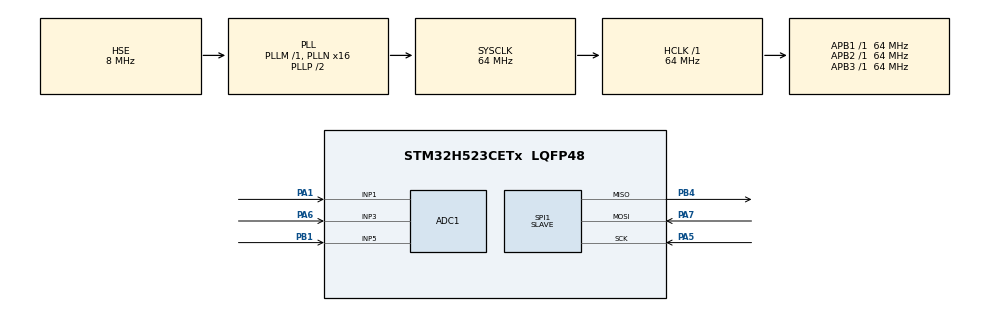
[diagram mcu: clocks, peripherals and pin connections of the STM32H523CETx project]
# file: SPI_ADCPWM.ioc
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ADC1.Channel-1\#ChannelRegularConversion=ADC_CHANNEL_1
ADC1.Channel-4\#ChannelRegularConversion=ADC_CHANNEL_3
ADC1.Channel-5\#ChannelRegularConversion=ADC_CHANNEL_5
ADC1.ExternalTrigConv=ADC_EXTERNALTRIG_T1_CC1
ADC1.ExternalTrigConvEdge=ADC_EXTERNALTRIGCONVEDGE_RISING
ADC1.MonitoredBy-1\#ChannelRegularConversion=__NULL
ADC1.MonitoredBy-4\#ChannelRegularConversion=__NULL
ADC1.MonitoredBy-5\#ChannelRegularConversion=__NULL
ADC1.NbrOfConversion=3
ADC1.NbrOfConversionFlag=1
ADC1.OffsetNumber-1\#ChannelRegularConversion=ADC_OFFSET_NONE
ADC1.OffsetNumber-4\#ChannelRegularConversion=ADC_OFFSET_NONE
ADC1.OffsetNumber-5\#ChannelRegularConversion=ADC_OFFSET_NONE
ADC1.Rank-1\#ChannelRegularConversion=1
ADC1.Rank-4\#ChannelRegularConversion=2
ADC1.Rank-5\#ChannelRegularConversion=3
ADC1.SamplingTime-1\#ChannelRegularConversion=ADC_SAMPLETIME_2CYCLES_5
ADC1.SamplingTime-4\#ChannelRegularConversion=ADC_SAMPLETIME_2CYCLES_5
ADC1.SamplingTime-5\#ChannelRegularConversion=ADC_SAMPLETIME_2CYCLES_5
ADC1.master=1
BOOTPATH.BootPathName=LEGACY
BOOTPATH.UserSelectedBootPath=LEGACY
CORTEX_M33_NS.Number-Cortex_Memory_Protection_Unit_Region0_OTP_RO_AREAS_Settings=MPU_REGION_NUMBER0
CORTEX_M33_NS.default_mode_Activation=1
CORTEX_M33_NS.userName=CORTEX_M33
Mcu.Family=STM32H5
Mcu.Name=STM32H523CETx
Mcu.Package=LQFP48
NVIC.PriorityGroup=NVIC_PRIORITYGROUP_4
PA1.Signal=ADCx_INP1
PA5.Mode=Full_Duplex_Slave
PA5.Signal=SPI1_SCK
PA6.Signal=ADCx_INP3
PA7.Mode=Full_Duplex_Slave
PA7.Signal=SPI1_MOSI
PB1.Signal=ADCx_INP5
PB4(NJTRST).Mode=Full_Duplex_Slave
PB4(NJTRST).Signal=SPI1_MISO
PH0-OSC_IN(PH0).Mode=HSE-External-Oscillator
PH0-OSC_IN(PH0).Signal=RCC_OSC_IN
PH1-OSC_OUT(PH1).Mode=HSE-External-Oscillator
PH1-OSC_OUT(PH1).Signal=RCC_OSC_OUT
ProjectManager.HeapSize=0x200
ProjectManager.StackSize=0x400
ProjectManager.TargetToolchain=CMake
RCC.ADCFreq_Value=64000000
RCC.AHBFreq_Value=64000000
RCC.APB1Freq_Value=64000000
RCC.APB1TimFreq_Value=64000000
RCC.APB2Freq_Value=64000000
RCC.APB2TimFreq_Value=64000000
RCC.APB3Freq_Value=64000000
RCC.CSI_VALUE=4000000
RCC.CortexFreq_Value=64000000
RCC.EPOD_VALUE=8000000
RCC.HCLKFreq_Value=64000000
RCC.HSE_VALUE=8000000
RCC.HSI48_VALUE=48000000
RCC.HSI_VALUE=64000000
RCC.LSE_VALUE=32768
RCC.LSIRC_VALUE=32000
RCC.PLL1Q=3
RCC.PLLFRACN=0
RCC.PLLN=16
RCC.PLLSourceVirtual=RCC_PLL1_SOURCE_HSE
RCC.SYSCLKFreq_VALUE=64000000
RCC.SYSCLKSource=RCC_SYSCLKSOURCE_PLLCLK
RCC.USBFreq_Value=48000000
RCC.VCOOutputFreq_Value=128000000
SH.ADCx_INP1.0=ADC1_INP1,IN1-Single-Ended
SH.ADCx_INP3.0=ADC1_INP3,IN3-Single-Ended
SH.ADCx_INP5.0=ADC1_INP5,IN5-Single-Ended
SPI1.DataSize=SPI_DATASIZE_16BIT
SPI1.Direction=SPI_DIRECTION_2LINES
SPI1.Mode=SPI_MODE_SLAVE
SPI1.VirtualType=VM_SLAVE
TIM1.Channel-Output\ Compare1\ No\ Output=TIM_CHANNEL_1
TIM1.OCMode_1=TIM_OCMODE_TOGGLE
TIM1.PeriodNoDither=49
TIM1.TIM_MasterOutputTrigger=TIM_TRGO_OC1REF
VP_BOOTPATH_VS_BOOTPATH.Mode=BP_Activate
VP_CORTEX_M33_NS_VS_Hclk.Mode=Hclk_Mode
VP_ICACHE_VS_ICACHE.Mode=DirectMappedCache
VP_MEMORYMAP_VS_MEMORYMAP.Mode=CurAppReg
VP_PWR_VS_LPOM.Mode=PowerOptimisation
VP_PWR_VS_SECSignals.Mode=Security/Privilege
VP_TIM1_VS_no_output1.Mode=Output Compare1 No Output
board=custom

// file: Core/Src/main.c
/* USER CODE BEGIN Header */
/**
  ******************************************************************************
  * @file           : main.c
  * @brief          : Main program body
  ******************************************************************************
  * @attention
  *
  * Copyright (c) 2026 STMicroelectronics.
  * All rights reserved.
  *
  * This software is licensed under terms that can be found in the LICENSE file
  * in the root directory of this software component.
  * If no LICENSE file comes with this software, it is provided AS-IS.
  *
  ******************************************************************************
  */
/* USER CODE END Header */
#include "main.h"

ADC_HandleTypeDef hadc1;

SPI_HandleTypeDef hspi1;

TIM_HandleTypeDef htim1;

/* USER CODE BEGIN PV */
volatile uint16_t adcValue[3] = {0};
uint8_t adcChannelIndex = 0;
/* USER CODE END PV */

void SystemClock_Config(void);
static void MPU_Config(void);
static void MX_GPIO_Init(void);
static void MX_ADC1_Init(void);
static void MX_ICACHE_Init(void);
static void MX_SPI1_Init(void);
static void MX_TIM1_Init(void);
/* USER CODE BEGIN PFP */
uint32_t ADC_Read_Channel(uint32_t channel);
/* USER CODE END PFP */

int main(void)
{

  /* MCU Configuration--------------------------------------------------------*/

  /* MPU Configuration--------------------------------------------------------*/
  MPU_Config();

  /* Reset of all peripherals, Initializes the Flash interface and the Systick. */
  HAL_Init();

  /* Configure the system clock */
  SystemClock_Config();

  /* Initialize all configured peripherals */
  MX_GPIO_Init();
  MX_ADC1_Init();
  MX_ICACHE_Init();
  MX_SPI1_Init();
  MX_TIM1_Init();
  /* USER CODE BEGIN 2 */
  //HAL_ADCEx_Calibration_Start(&hadc1, ADC_SINGLE_ENDED);
HAL_TIM_OC_Start(&htim1, TIM_CHANNEL_1);
  /* USER CODE END 2 */

  /* Infinite loop */
  while (1)
  {

    /* USER CODE BEGIN 3 */
    adcValue[0] = ADC_Read_Channel(ADC_CHANNEL_1);
    adcValue[1] = ADC_Read_Channel(ADC_CHANNEL_3);
    adcValue[2] = ADC_Read_Channel(ADC_CHANNEL_5);

    for (int i = 0; i < 3; i++) {
        uint16_t txValue = adcValue[i];
        HAL_SPI_Transmit(&hspi1, (uint8_t *)&txValue, 1, HAL_MAX_DELAY);
        while (HAL_SPI_GetState(&hspi1) != HAL_SPI_STATE_READY) {
            // Wait until SPI is ready for the next transmission
        }
    }

  }
  /* USER CODE END 3 */
}

void SystemClock_Config(void)
{
  RCC_OscInitTypeDef RCC_OscInitStruct = {0};
  RCC_ClkInitTypeDef RCC_ClkInitStruct = {0};

  /** Configure the main internal regulator output voltage
  */
  __HAL_PWR_VOLTAGESCALING_CONFIG(PWR_REGULATOR_VOLTAGE_SCALE3);

  while(!__HAL_PWR_GET_FLAG(PWR_FLAG_VOSRDY)) {}

  /** Initializes the RCC Oscillators according to the specified parameters
  * in the RCC_OscInitTypeDef structure.
  */
  RCC_OscInitStruct.OscillatorType = RCC_OSCILLATORTYPE_HSE;
  RCC_OscInitStruct.HSEState = RCC_HSE_ON;
  RCC_OscInitStruct.PLL.PLLState = RCC_PLL_ON;
  RCC_OscInitStruct.PLL.PLLSource = RCC_PLL1_SOURCE_HSE;
  RCC_OscInitStruct.PLL.PLLM = 1;
  RCC_OscInitStruct.PLL.PLLN = 16;
  RCC_OscInitStruct.PLL.PLLP = 2;
  RCC_OscInitStruct.PLL.PLLQ = 3;
  RCC_OscInitStruct.PLL.PLLR = 2;
  RCC_OscInitStruct.PLL.PLLRGE = RCC_PLL1_VCIRANGE_3;
  RCC_OscInitStruct.PLL.PLLVCOSEL = RCC_PLL1_VCORANGE_WIDE;
  RCC_OscInitStruct.PLL.PLLFRACN = 0;
  if (HAL_RCC_OscConfig(&RCC_OscInitStruct) != HAL_OK)
  {
    Error_Handler();
  }

  /** Initializes the CPU, AHB and APB buses clocks
  */
  RCC_ClkInitStruct.ClockType = RCC_CLOCKTYPE_HCLK|RCC_CLOCKTYPE_SYSCLK
                              |RCC_CLOCKTYPE_PCLK1|RCC_CLOCKTYPE_PCLK2
                              |RCC_CLOCKTYPE_PCLK3;
  RCC_ClkInitStruct.SYSCLKSource = RCC_SYSCLKSOURCE_PLLCLK;
  RCC_ClkInitStruct.AHBCLKDivider = RCC_SYSCLK_DIV1;
  RCC_ClkInitStruct.APB1CLKDivider = RCC_HCLK_DIV1;
  RCC_ClkInitStruct.APB2CLKDivider = RCC_HCLK_DIV1;
  RCC_ClkInitStruct.APB3CLKDivider = RCC_HCLK_DIV1;

  if (HAL_RCC_ClockConfig(&RCC_ClkInitStruct, FLASH_LATENCY_3) != HAL_OK)
  {
    Error_Handler();
  }

  /** Configure the programming delay
  */
  __HAL_FLASH_SET_PROGRAM_DELAY(FLASH_PROGRAMMING_DELAY_1);
}

static void MX_ADC1_Init(void)
{

  ADC_ChannelConfTypeDef sConfig = {0};

  /** Common config
  */
  hadc1.Instance = ADC1;
  hadc1.Init.ClockPrescaler = ADC_CLOCK_ASYNC_DIV1;
  hadc1.Init.Resolution = ADC_RESOLUTION_12B;
  hadc1.Init.DataAlign = ADC_DATAALIGN_RIGHT;
  hadc1.Init.ScanConvMode = ADC_SCAN_ENABLE;
  hadc1.Init.EOCSelection = ADC_EOC_SINGLE_CONV;
  hadc1.Init.LowPowerAutoWait = DISABLE;
  hadc1.Init.ContinuousConvMode = DISABLE;
  hadc1.Init.NbrOfConversion = 3;
  hadc1.Init.DiscontinuousConvMode = DISABLE;
  hadc1.Init.ExternalTrigConv = ADC_EXTERNALTRIG_T1_CC1;
  hadc1.Init.ExternalTrigConvEdge = ADC_EXTERNALTRIGCONVEDGE_RISING;
  hadc1.Init.DMAContinuousRequests = DISABLE;
  hadc1.Init.SamplingMode = ADC_SAMPLING_MODE_NORMAL;
  hadc1.Init.Overrun = ADC_OVR_DATA_PRESERVED;
  hadc1.Init.OversamplingMode = DISABLE;
  if (HAL_ADC_Init(&hadc1) != HAL_OK)
  {
    Error_Handler();
  }

  /** Configure Regular Channel
  */
  sConfig.Channel = ADC_CHANNEL_1;
  sConfig.Rank = ADC_REGULAR_RANK_1;
  sConfig.SamplingTime = ADC_SAMPLETIME_2CYCLES_5;
  sConfig.SingleDiff = ADC_SINGLE_ENDED;
  sConfig.OffsetNumber = ADC_OFFSET_NONE;
  sConfig.Offset = 0;
  if (HAL_ADC_ConfigChannel(&hadc1, &sConfig) != HAL_OK)
  {
    Error_Handler();
  }

  /** Configure Regular Channel
  */
  sConfig.Channel = ADC_CHANNEL_3;
  sConfig.Rank = ADC_REGULAR_RANK_2;
  if (HAL_ADC_ConfigChannel(&hadc1, &sConfig) != HAL_OK)
  {
    Error_Handler();
  }

  /** Configure Regular Channel
  */
  sConfig.Channel = ADC_CHANNEL_5;
  sConfig.Rank = ADC_REGULAR_RANK_3;
  if (HAL_ADC_ConfigChannel(&hadc1, &sConfig) != HAL_OK)
  {
    Error_Handler();
  }

}

static void MX_ICACHE_Init(void)
{

  /** Enable instruction cache in 1-way (direct mapped cache)
  */
  if (HAL_ICACHE_ConfigAssociativityMode(ICACHE_1WAY) != HAL_OK)
  {
    Error_Handler();
  }
  if (HAL_ICACHE_Enable() != HAL_OK)
  {
    Error_Handler();
  }

}

static void MX_SPI1_Init(void)
{

  /* SPI1 parameter configuration*/
  hspi1.Instance = SPI1;
  hspi1.Init.Mode = SPI_MODE_SLAVE;
  hspi1.Init.Direction = SPI_DIRECTION_2LINES;
  hspi1.Init.DataSize = SPI_DATASIZE_16BIT;
  hspi1.Init.CLKPolarity = SPI_POLARITY_LOW;
  hspi1.Init.CLKPhase = SPI_PHASE_1EDGE;
  hspi1.Init.NSS = SPI_NSS_SOFT;
  hspi1.Init.FirstBit = SPI_FIRSTBIT_MSB;
  hspi1.Init.TIMode = SPI_TIMODE_DISABLE;
  hspi1.Init.CRCCalculation = SPI_CRCCALCULATION_DISABLE;
  hspi1.Init.CRCPolynomial = 0x7;
  hspi1.Init.NSSPMode = SPI_NSS_PULSE_DISABLE;
  hspi1.Init.NSSPolarity = SPI_NSS_POLARITY_LOW;
  hspi1.Init.FifoThreshold = SPI_FIFO_THRESHOLD_01DATA;
  hspi1.Init.MasterSSIdleness = SPI_MASTER_SS_IDLENESS_00CYCLE;
  hspi1.Init.MasterInterDataIdleness = SPI_MASTER_INTERDATA_IDLENESS_00CYCLE;
  hspi1.Init.MasterReceiverAutoSusp = SPI_MASTER_RX_AUTOSUSP_DISABLE;
  hspi1.Init.MasterKeepIOState = SPI_MASTER_KEEP_IO_STATE_DISABLE;
  hspi1.Init.IOSwap = SPI_IO_SWAP_DISABLE;
  hspi1.Init.ReadyMasterManagement = SPI_RDY_MASTER_MANAGEMENT_INTERNALLY;
  hspi1.Init.ReadyPolarity = SPI_RDY_POLARITY_HIGH;
  if (HAL_SPI_Init(&hspi1) != HAL_OK)
  {
    Error_Handler();
  }

}

static void MX_TIM1_Init(void)
{

  TIM_MasterConfigTypeDef sMasterConfig = {0};
  TIM_OC_InitTypeDef sConfigOC = {0};
  TIM_BreakDeadTimeConfigTypeDef sBreakDeadTimeConfig = {0};

  htim1.Instance = TIM1;
  htim1.Init.Prescaler = 0;
  htim1.Init.CounterMode = TIM_COUNTERMODE_UP;
  htim1.Init.Period = 49;
  htim1.Init.ClockDivision = TIM_CLOCKDIVISION_DIV1;
  htim1.Init.RepetitionCounter = 0;
  htim1.Init.AutoReloadPreload = TIM_AUTORELOAD_PRELOAD_DISABLE;
  if (HAL_TIM_OC_Init(&htim1) != HAL_OK)
  {
    Error_Handler();
  }
  sMasterConfig.MasterOutputTrigger = TIM_TRGO_OC1REF;
  sMasterConfig.MasterOutputTrigger2 = TIM_TRGO2_RESET;
  sMasterConfig.MasterSlaveMode = TIM_MASTERSLAVEMODE_DISABLE;
  if (HAL_TIMEx_MasterConfigSynchronization(&htim1, &sMasterConfig) != HAL_OK)
  {
    Error_Handler();
  }
  sConfigOC.OCMode = TIM_OCMODE_TOGGLE;
  sConfigOC.Pulse = 0;
  sConfigOC.OCPolarity = TIM_OCPOLARITY_HIGH;
  sConfigOC.OCNPolarity = TIM_OCNPOLARITY_HIGH;
  sConfigOC.OCFastMode = TIM_OCFAST_DISABLE;
  sConfigOC.OCIdleState = TIM_OCIDLESTATE_RESET;
  sConfigOC.OCNIdleState = TIM_OCNIDLESTATE_RESET;
  if (HAL_TIM_OC_ConfigChannel(&htim1, &sConfigOC, TIM_CHANNEL_1) != HAL_OK)
  {
    Error_Handler();
  }
  sBreakDeadTimeConfig.OffStateRunMode = TIM_OSSR_DISABLE;
  sBreakDeadTimeConfig.OffStateIDLEMode = TIM_OSSI_DISABLE;
  sBreakDeadTimeConfig.LockLevel = TIM_LOCKLEVEL_OFF;
  sBreakDeadTimeConfig.DeadTime = 0;
  sBreakDeadTimeConfig.BreakState = TIM_BREAK_DISABLE;
  sBreakDeadTimeConfig.BreakPolarity = TIM_BREAKPOLARITY_HIGH;
  sBreakDeadTimeConfig.BreakFilter = 0;
  sBreakDeadTimeConfig.BreakAFMode = TIM_BREAK_AFMODE_INPUT;
  sBreakDeadTimeConfig.Break2State = TIM_BREAK2_DISABLE;
  sBreakDeadTimeConfig.Break2Polarity = TIM_BREAK2POLARITY_HIGH;
  sBreakDeadTimeConfig.Break2Filter = 0;
  sBreakDeadTimeConfig.Break2AFMode = TIM_BREAK_AFMODE_INPUT;
  sBreakDeadTimeConfig.AutomaticOutput = TIM_AUTOMATICOUTPUT_DISABLE;
  if (HAL_TIMEx_ConfigBreakDeadTime(&htim1, &sBreakDeadTimeConfig) != HAL_OK)
  {
    Error_Handler();
  }

}

static void MX_GPIO_Init(void)
{

  /* GPIO Ports Clock Enable */
  __HAL_RCC_GPIOH_CLK_ENABLE();
  __HAL_RCC_GPIOA_CLK_ENABLE();
  __HAL_RCC_GPIOB_CLK_ENABLE();

}

/* USER CODE BEGIN 4 */
uint32_t ADC_Read_Channel(uint32_t channel) {
    ADC_ChannelConfTypeDef sConfig = {0};

    // Configure the selected channel to Rank 1
    sConfig.Channel = channel;
    sConfig.Rank = ADC_REGULAR_RANK_1;
    sConfig.SamplingTime = ADC_SAMPLETIME_640CYCLES_5; // Adjust for your STM32 family
    sConfig.SingleDiff = ADC_SINGLE_ENDED;
    sConfig.OffsetNumber = ADC_OFFSET_NONE;
    sConfig.Offset = 0;

    if (HAL_ADC_ConfigChannel(&hadc1, &sConfig) != HAL_OK) {
        Error_Handler();
    }

    if (HAL_ADC_Start(&hadc1) != HAL_OK) {
        Error_Handler();
    }

    if (HAL_ADC_PollForConversion(&hadc1, 100) != HAL_OK) {
        HAL_ADC_Stop(&hadc1);
        Error_Handler();
    }

    uint32_t value = HAL_ADC_GetValue(&hadc1);

    if (HAL_ADC_Stop(&hadc1) != HAL_OK) {
        Error_Handler();
    }

    return value;
}
/* USER CODE END 4 */

 /* MPU Configuration */

void MPU_Config(void)
{
  MPU_Region_InitTypeDef MPU_InitStruct = {0};
  MPU_Attributes_InitTypeDef MPU_AttributesInit = {0};

  /* Disables the MPU */
  HAL_MPU_Disable();

  /** Initializes and configures the Region 0 and the memory to be protected
  */
  MPU_InitStruct.Enable = MPU_REGION_ENABLE;
  MPU_InitStruct.Number = MPU_REGION_NUMBER0;
  MPU_InitStruct.BaseAddress = 0x08FFF000;
  MPU_InitStruct.LimitAddress = 0x08FFFFFF;
  MPU_InitStruct.AttributesIndex = MPU_ATTRIBUTES_NUMBER0;
  MPU_InitStruct.AccessPermission = MPU_REGION_ALL_RO;
  MPU_InitStruct.DisableExec = MPU_INSTRUCTION_ACCESS_DISABLE;
  MPU_InitStruct.IsShareable = MPU_ACCESS_NOT_SHAREABLE;

  HAL_MPU_ConfigRegion(&MPU_InitStruct);

  /** Initializes and configures the Attribute 0 and the memory to be protected
  */
  MPU_AttributesInit.Number = MPU_ATTRIBUTES_NUMBER0;
  MPU_AttributesInit.Attributes = INNER_OUTER(MPU_NOT_CACHEABLE);

  HAL_MPU_ConfigMemoryAttributes(&MPU_AttributesInit);
  /* Enables the MPU */
  HAL_MPU_Enable(MPU_PRIVILEGED_DEFAULT);

}

void Error_Handler(void)
{
  __disable_irq();
  while (1)
  {
  }
}
